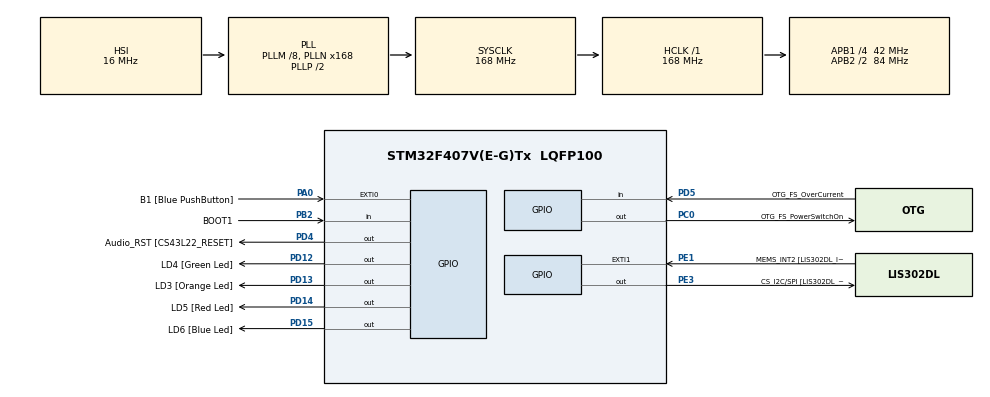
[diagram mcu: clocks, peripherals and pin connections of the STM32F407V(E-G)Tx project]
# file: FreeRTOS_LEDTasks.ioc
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Mcu.Family=STM32F4
Mcu.Name=STM32F407V(E-G)Tx
Mcu.Package=LQFP100
NVIC.PriorityGroup=NVIC_PRIORITYGROUP_4
NVIC.TIM6_DAC_IRQn=true\:0\:0\:false\:false\:true\:false\:true\:true
NVIC.TimeBase=TIM6_DAC_IRQn
NVIC.TimeBaseIP=TIM6
PA0-WKUP.GPIO_Label=B1 [Blue PushButton]
PA0-WKUP.Signal=GPXTI0
PA10.GPIO_Label=OTG_FS_ID
PA10.GPIO_Mode=GPIO_MODE_AF_PP
PA10.GPIO_PuPd=GPIO_NOPULL
PA10.GPIO_Speed=GPIO_SPEED_FREQ_LOW
PA10.Signal=USB_OTG_FS_ID
PA11.GPIO_Label=OTG_FS_DM
PA11.GPIO_Mode=GPIO_MODE_AF_PP
PA11.GPIO_PuPd=GPIO_NOPULL
PA11.GPIO_Speed=GPIO_SPEED_FREQ_LOW
PA11.Signal=USB_OTG_FS_DM
PA12.GPIO_Label=OTG_FS_DP
PA12.GPIO_Mode=GPIO_MODE_AF_PP
PA12.GPIO_PuPd=GPIO_NOPULL
PA12.GPIO_Speed=GPIO_SPEED_FREQ_LOW
PA12.Signal=USB_OTG_FS_DP
PA13.GPIO_Label=SWDIO
PA13.Signal=SYS_JTMS-SWDIO
PA14.GPIO_Label=SWCLK
PA14.Signal=SYS_JTCK-SWCLK
PA4.GPIO_Label=I2S3_WS [CS43L22_LRCK]
PA4.GPIO_Mode=GPIO_MODE_AF_PP
PA4.GPIO_PuPd=GPIO_NOPULL
PA4.GPIO_Speed=GPIO_SPEED_FREQ_LOW
PA4.Signal=I2S3_WS
PA5.GPIO_Label=SPI1_SCK [LIS302DL_SCL/SPC]
PA5.GPIO_Mode=GPIO_MODE_AF_PP
PA5.GPIO_PuPd=GPIO_NOPULL
PA5.GPIO_Speed=GPIO_SPEED_FREQ_LOW
PA5.Signal=SPI1_SCK
PA6.GPIO_Label=SPI1_MISO [LIS302DL_SDO]
PA6.GPIO_Mode=GPIO_MODE_AF_PP
PA6.GPIO_PuPd=GPIO_NOPULL
PA6.GPIO_Speed=GPIO_SPEED_FREQ_LOW
PA6.Signal=SPI1_MISO
PA7.GPIO_Label=SPI1_MOSI [LIS302DL_SDA/SDI/SDO]
PA7.GPIO_Mode=GPIO_MODE_AF_PP
PA7.GPIO_PuPd=GPIO_NOPULL
PA7.GPIO_Speed=GPIO_SPEED_FREQ_LOW
PA7.Signal=SPI1_MOSI
PA9.GPIO_Label=VBUS_FS
PA9.GPIO_Mode=GPIO_MODE_INPUT
PA9.GPIO_PuPd=GPIO_NOPULL
PA9.Signal=USB_OTG_FS_VBUS
PB10.GPIO_Label=CLK_IN [MP45DT02_CLK]
PB10.GPIO_Mode=GPIO_MODE_AF_PP
PB10.GPIO_PuPd=GPIO_NOPULL
PB10.GPIO_Speed=GPIO_SPEED_FREQ_LOW
PB10.Signal=I2S2_CK
PB2.GPIO_Label=BOOT1
PB2.GPIO_Mode=GPIO_MODE_INPUT
PB2.GPIO_PuPd=GPIO_NOPULL
PB2.Signal=GPIO_Input
PB3.GPIO_Label=SWO
PB3.Signal=SYS_JTDO-SWO
PB6.GPIO_Label=Audio_SCL [CS43L22_SCL]
PB6.GPIO_Mode=GPIO_MODE_AF_OD
PB6.GPIO_PuPd=GPIO_NOPULL
PB6.GPIO_Speed=GPIO_SPEED_FREQ_LOW
PB6.Signal=I2C1_SCL
PB9.GPIO_Label=Audio_SDA [CS43L22_SDA]
PB9.GPIO_Mode=GPIO_MODE_AF_OD
PB9.GPIO_PuPd=GPIO_NOPULL
PB9.GPIO_Speed=GPIO_SPEED_FREQ_LOW
PB9.Signal=I2C1_SDA
PC0.GPIO_Label=OTG_FS_PowerSwitchOn
PC0.GPIO_PuPd=GPIO_NOPULL
PC0.GPIO_Speed=GPIO_SPEED_FREQ_LOW
PC0.PinState=GPIO_PIN_SET
PC0.Signal=GPIO_Output
PC10.GPIO_Label=I2S3_SCK [CS43L22_SCLK]
PC10.GPIO_Mode=GPIO_MODE_AF_PP
PC10.GPIO_PuPd=GPIO_NOPULL
PC10.GPIO_Speed=GPIO_SPEED_FREQ_LOW
PC10.Signal=I2S3_CK
PC12.GPIO_Label=I2S3_SD [CS43L22_SDIN]
PC12.GPIO_Mode=GPIO_MODE_AF_PP
PC12.GPIO_PuPd=GPIO_NOPULL
PC12.GPIO_Speed=GPIO_SPEED_FREQ_LOW
PC12.Signal=I2S3_SD
PC14-OSC32_IN.GPIO_Label=PC14-OSC32_IN
PC14-OSC32_IN.Signal=RCC_OSC32_IN
PC15-OSC32_OUT.GPIO_Label=PC15-OSC32_OUT
PC15-OSC32_OUT.Signal=RCC_OSC32_OUT
PC3.GPIO_Label=PDM_OUT [MP45DT02_DOUT]
PC3.GPIO_Mode=GPIO_MODE_AF_PP
PC3.GPIO_PuPd=GPIO_NOPULL
PC3.GPIO_Speed=GPIO_SPEED_FREQ_LOW
PC3.Signal=I2S2_SD
PC7.GPIO_Label=I2S3_MCK [CS43L22_MCLK]
PC7.GPIO_Mode=GPIO_MODE_AF_PP
PC7.GPIO_PuPd=GPIO_NOPULL
PC7.GPIO_Speed=GPIO_SPEED_FREQ_LOW
PC7.Signal=I2S3_MCK
PD12.GPIO_Label=LD4 [Green Led]
PD12.GPIO_PuPd=GPIO_NOPULL
PD12.GPIO_Speed=GPIO_SPEED_FREQ_LOW
PD12.Signal=GPIO_Output
PD13.GPIO_Label=LD3 [Orange Led]
PD13.GPIO_PuPd=GPIO_NOPULL
PD13.GPIO_Speed=GPIO_SPEED_FREQ_LOW
PD13.Signal=GPIO_Output
PD14.GPIO_Label=LD5 [Red Led]
PD14.GPIO_PuPd=GPIO_NOPULL
PD14.GPIO_Speed=GPIO_SPEED_FREQ_LOW
PD14.Signal=GPIO_Output
PD15.GPIO_Label=LD6 [Blue Led]
PD15.GPIO_PuPd=GPIO_NOPULL
PD15.GPIO_Speed=GPIO_SPEED_FREQ_LOW
PD15.Signal=GPIO_Output
PD4.GPIO_Label=Audio_RST [CS43L22_RESET]
PD4.GPIO_PuPd=GPIO_NOPULL
PD4.GPIO_Speed=GPIO_SPEED_FREQ_LOW
PD4.Signal=GPIO_Output
PD5.GPIO_Label=OTG_FS_OverCurrent
PD5.GPIO_Mode=GPIO_MODE_INPUT
PD5.GPIO_PuPd=GPIO_NOPULL
PD5.Signal=GPIO_Input
PE1.GPIO_Label=MEMS_INT2 [LIS302DL_INT2]
PE1.GPIO_ModeDefaultEXTI=GPIO_MODE_EVT_RISING
PE1.GPIO_PuPd=GPIO_NOPULL
PE1.Signal=GPXTI1
PE3.GPIO_Label=CS_I2C/SPI [LIS302DL_CS_I2C/SPI]
PE3.GPIO_PuPd=GPIO_NOPULL
PE3.GPIO_Speed=GPIO_SPEED_FREQ_LOW
PE3.Signal=GPIO_Output
PH0-OSC_IN.GPIO_Label=PH0-OSC_IN
PH0-OSC_IN.Signal=RCC_OSC_IN
PH1-OSC_OUT.GPIO_Label=PH1-OSC_OUT
PH1-OSC_OUT.Signal=RCC_OSC_OUT
ProjectManager.HeapSize=0x200
ProjectManager.StackSize=0x400
ProjectManager.TargetToolchain=STM32CubeIDE
RCC.48MHZClocksFreq_Value=48000000
RCC.AHBFreq_Value=168000000
RCC.APB1CLKDivider=RCC_HCLK_DIV4
RCC.APB1Freq_Value=42000000
RCC.APB1TimFreq_Value=84000000
RCC.APB2CLKDivider=RCC_HCLK_DIV2
RCC.APB2Freq_Value=84000000
RCC.APB2TimFreq_Value=168000000
RCC.CortexFreq_Value=168000000
RCC.HCLKFreq_Value=168000000
RCC.HSE_VALUE=8000000
RCC.HSI_VALUE=16000000
RCC.LSE_VALUE=32768
RCC.PLLM=8
RCC.PLLN=168
RCC.PLLQ=7
RCC.SYSCLKFreq_VALUE=168000000
RCC.SYSCLKSource=RCC_SYSCLKSOURCE_PLLCLK
RCC.VCOOutputFreq_Value=336000000
VP_SYS_VS_tim6.Mode=TIM6
board=STM32F407G-DISC1

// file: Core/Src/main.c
/* USER CODE BEGIN Header */
/**
  ******************************************************************************
  * @file           : main.c
  * @brief          : Main program body
  ******************************************************************************
  * @attention
  *
  * Copyright (c) 2025 STMicroelectronics.
  * All rights reserved.
  *
  * This software is licensed under terms that can be found in the LICENSE file
  * in the root directory of this software component.
  * If no LICENSE file comes with this software, it is provided AS-IS.
  *
  ******************************************************************************
  */
/* USER CODE END Header */
#include "main.h"

/* USER CODE BEGIN Includes */
#include <stdio.h>
#include "FreeRTOS.h"
#include "task.h"
/* USER CODE END Includes */

/* USER CODE BEGIN PV */
#define DWT_CTRL		(*(volatile uint32_t* )0xE0001000)

/* USER CODE END PV */

void SystemClock_Config(void);
static void MX_GPIO_Init(void);
/* USER CODE BEGIN PFP */

static void ledGreenHandler(void* parameters);
static void ledOrangeHandler(void* parameters);
static void ledRedHandler(void* parameters);

extern void SEGGER_UART_init();
/* USER CODE END PFP */

int main(void)
{

  /* USER CODE BEGIN 1 */
	TaskHandle_t task1Handle;
	TaskHandle_t task2Handle;
	TaskHandle_t task3Handle;
	BaseType_t status;

  /* USER CODE END 1 */

  /* MCU Configuration--------------------------------------------------------*/

  /* Reset of all peripherals, Initializes the Flash interface and the Systick. */
  HAL_Init();

  /* Configure the system clock */
  SystemClock_Config();

  /* Initialize all configured peripherals */
  MX_GPIO_Init();
  /* USER CODE BEGIN 2 */

  // Initialize UART recording
    SEGGER_UART_init(500000);

  //Enable CYCLCNTENA in the DWT_CTRL register
	DWT_CTRL |= ( 1 << 0);

  // Start SEGGER SysView recording
  SEGGER_SYSVIEW_Conf();

	// Create Tasks for LEDs
  status = xTaskCreate(ledGreenHandler, "LED Green Task", 512, NULL, 2, &task1Handle);
  if (status != pdPASS) {
      SEGGER_SYSVIEW_PrintfTarget("Green Task Creation Failed!");
  }

  status = xTaskCreate(ledOrangeHandler, "LED Orange Task", 512, NULL, 2, &task2Handle);
  if (status != pdPASS) {
      SEGGER_SYSVIEW_PrintfTarget("Orange Task Creation Failed!");
  }

  status = xTaskCreate(ledRedHandler, "LED Red Task", 512, NULL, 2, &task3Handle);
  if (status != pdPASS) {
      SEGGER_SYSVIEW_PrintfTarget("Red Task Creation Failed!");
  }

	//start the freeRTOS scheduler
	vTaskStartScheduler();
  /* USER CODE END 2 */

  /* Infinite loop */
  while (1)
  {

  }
}

void SystemClock_Config(void)
{
  RCC_OscInitTypeDef RCC_OscInitStruct = {0};
  RCC_ClkInitTypeDef RCC_ClkInitStruct = {0};

  /** Configure the main internal regulator output voltage
  */
  __HAL_RCC_PWR_CLK_ENABLE();
  __HAL_PWR_VOLTAGESCALING_CONFIG(PWR_REGULATOR_VOLTAGE_SCALE1);

  /** Initializes the RCC Oscillators according to the specified parameters
  * in the RCC_OscInitTypeDef structure.
  */
  RCC_OscInitStruct.OscillatorType = RCC_OSCILLATORTYPE_HSI;
  RCC_OscInitStruct.HSIState = RCC_HSI_ON;
  RCC_OscInitStruct.HSICalibrationValue = RCC_HSICALIBRATION_DEFAULT;
  RCC_OscInitStruct.PLL.PLLState = RCC_PLL_ON;
  RCC_OscInitStruct.PLL.PLLSource = RCC_PLLSOURCE_HSI;
  RCC_OscInitStruct.PLL.PLLM = 8;
  RCC_OscInitStruct.PLL.PLLN = 168;
  RCC_OscInitStruct.PLL.PLLP = RCC_PLLP_DIV2;
  RCC_OscInitStruct.PLL.PLLQ = 7;
  if (HAL_RCC_OscConfig(&RCC_OscInitStruct) != HAL_OK)
  {
    Error_Handler();
  }

  /** Initializes the CPU, AHB and APB buses clocks
  */
  RCC_ClkInitStruct.ClockType = RCC_CLOCKTYPE_HCLK|RCC_CLOCKTYPE_SYSCLK
                              |RCC_CLOCKTYPE_PCLK1|RCC_CLOCKTYPE_PCLK2;
  RCC_ClkInitStruct.SYSCLKSource = RCC_SYSCLKSOURCE_PLLCLK;
  RCC_ClkInitStruct.AHBCLKDivider = RCC_SYSCLK_DIV1;
  RCC_ClkInitStruct.APB1CLKDivider = RCC_HCLK_DIV4;
  RCC_ClkInitStruct.APB2CLKDivider = RCC_HCLK_DIV2;

  if (HAL_RCC_ClockConfig(&RCC_ClkInitStruct, FLASH_LATENCY_5) != HAL_OK)
  {
    Error_Handler();
  }
}

static void MX_GPIO_Init(void)
{
  GPIO_InitTypeDef GPIO_InitStruct = {0};

  /* GPIO Ports Clock Enable */
  __HAL_RCC_GPIOE_CLK_ENABLE();
  __HAL_RCC_GPIOC_CLK_ENABLE();
  __HAL_RCC_GPIOH_CLK_ENABLE();
  __HAL_RCC_GPIOA_CLK_ENABLE();
  __HAL_RCC_GPIOB_CLK_ENABLE();
  __HAL_RCC_GPIOD_CLK_ENABLE();

  /*Configure GPIO pin Output Level */
  HAL_GPIO_WritePin(CS_I2C_SPI_GPIO_Port, CS_I2C_SPI_Pin, GPIO_PIN_RESET);

  /*Configure GPIO pin Output Level */
  HAL_GPIO_WritePin(OTG_FS_PowerSwitchOn_GPIO_Port, OTG_FS_PowerSwitchOn_Pin, GPIO_PIN_SET);

  /*Configure GPIO pin Output Level */
  HAL_GPIO_WritePin(GPIOD, LD4_Pin|LD3_Pin|LD5_Pin|LD6_Pin
                          |Audio_RST_Pin, GPIO_PIN_RESET);

  /*Configure GPIO pin : CS_I2C_SPI_Pin */
  GPIO_InitStruct.Pin = CS_I2C_SPI_Pin;
  GPIO_InitStruct.Mode = GPIO_MODE_OUTPUT_PP;
  GPIO_InitStruct.Pull = GPIO_NOPULL;
  GPIO_InitStruct.Speed = GPIO_SPEED_FREQ_LOW;
  HAL_GPIO_Init(CS_I2C_SPI_GPIO_Port, &GPIO_InitStruct);

  /*Configure GPIO pin : OTG_FS_PowerSwitchOn_Pin */
  GPIO_InitStruct.Pin = OTG_FS_PowerSwitchOn_Pin;
  GPIO_InitStruct.Mode = GPIO_MODE_OUTPUT_PP;
  GPIO_InitStruct.Pull = GPIO_NOPULL;
  GPIO_InitStruct.Speed = GPIO_SPEED_FREQ_LOW;
  HAL_GPIO_Init(OTG_FS_PowerSwitchOn_GPIO_Port, &GPIO_InitStruct);

  /*Configure GPIO pin : PDM_OUT_Pin */
  GPIO_InitStruct.Pin = PDM_OUT_Pin;
  GPIO_InitStruct.Mode = GPIO_MODE_AF_PP;
  GPIO_InitStruct.Pull = GPIO_NOPULL;
  GPIO_InitStruct.Speed = GPIO_SPEED_FREQ_LOW;
  GPIO_InitStruct.Alternate = GPIO_AF5_SPI2;
  HAL_GPIO_Init(PDM_OUT_GPIO_Port, &GPIO_InitStruct);

  /*Configure GPIO pin : B1_Pin */
  GPIO_InitStruct.Pin = B1_Pin;
  GPIO_InitStruct.Mode = GPIO_MODE_IT_RISING;
  GPIO_InitStruct.Pull = GPIO_NOPULL;
  HAL_GPIO_Init(B1_GPIO_Port, &GPIO_InitStruct);

  /*Configure GPIO pin : I2S3_WS_Pin */
  GPIO_InitStruct.Pin = I2S3_WS_Pin;
  GPIO_InitStruct.Mode = GPIO_MODE_AF_PP;
  GPIO_InitStruct.Pull = GPIO_NOPULL;
  GPIO_InitStruct.Speed = GPIO_SPEED_FREQ_LOW;
  GPIO_InitStruct.Alternate = GPIO_AF6_SPI3;
  HAL_GPIO_Init(I2S3_WS_GPIO_Port, &GPIO_InitStruct);

  /*Configure GPIO pins : SPI1_SCK_Pin SPI1_MISO_Pin SPI1_MOSI_Pin */
  GPIO_InitStruct.Pin = SPI1_SCK_Pin|SPI1_MISO_Pin|SPI1_MOSI_Pin;
  GPIO_InitStruct.Mode = GPIO_MODE_AF_PP;
  GPIO_InitStruct.Pull = GPIO_NOPULL;
  GPIO_InitStruct.Speed = GPIO_SPEED_FREQ_LOW;
  GPIO_InitStruct.Alternate = GPIO_AF5_SPI1;
  HAL_GPIO_Init(GPIOA, &GPIO_InitStruct);

  /*Configure GPIO pin : BOOT1_Pin */
  GPIO_InitStruct.Pin = BOOT1_Pin;
  GPIO_InitStruct.Mode = GPIO_MODE_INPUT;
  GPIO_InitStruct.Pull = GPIO_NOPULL;
  HAL_GPIO_Init(BOOT1_GPIO_Port, &GPIO_InitStruct);

  /*Configure GPIO pin : CLK_IN_Pin */
  GPIO_InitStruct.Pin = CLK_IN_Pin;
  GPIO_InitStruct.Mode = GPIO_MODE_AF_PP;
  GPIO_InitStruct.Pull = GPIO_NOPULL;
  GPIO_InitStruct.Speed = GPIO_SPEED_FREQ_LOW;
  GPIO_InitStruct.Alternate = GPIO_AF5_SPI2;
  HAL_GPIO_Init(CLK_IN_GPIO_Port, &GPIO_InitStruct);

  /*Configure GPIO pins : LD4_Pin LD3_Pin LD5_Pin LD6_Pin
                           Audio_RST_Pin */
  GPIO_InitStruct.Pin = LD4_Pin|LD3_Pin|LD5_Pin|LD6_Pin
                          |Audio_RST_Pin;
  GPIO_InitStruct.Mode = GPIO_MODE_OUTPUT_PP;
  GPIO_InitStruct.Pull = GPIO_NOPULL;
  GPIO_InitStruct.Speed = GPIO_SPEED_FREQ_LOW;
  HAL_GPIO_Init(GPIOD, &GPIO_InitStruct);

  /*Configure GPIO pins : I2S3_MCK_Pin I2S3_SCK_Pin I2S3_SD_Pin */
  GPIO_InitStruct.Pin = I2S3_MCK_Pin|I2S3_SCK_Pin|I2S3_SD_Pin;
  GPIO_InitStruct.Mode = GPIO_MODE_AF_PP;
  GPIO_InitStruct.Pull = GPIO_NOPULL;
  GPIO_InitStruct.Speed = GPIO_SPEED_FREQ_LOW;
  GPIO_InitStruct.Alternate = GPIO_AF6_SPI3;
  HAL_GPIO_Init(GPIOC, &GPIO_InitStruct);

  /*Configure GPIO pin : VBUS_FS_Pin */
  GPIO_InitStruct.Pin = VBUS_FS_Pin;
  GPIO_InitStruct.Mode = GPIO_MODE_INPUT;
  GPIO_InitStruct.Pull = GPIO_NOPULL;
  HAL_GPIO_Init(VBUS_FS_GPIO_Port, &GPIO_InitStruct);

  /*Configure GPIO pins : OTG_FS_ID_Pin OTG_FS_DM_Pin OTG_FS_DP_Pin */
  GPIO_InitStruct.Pin = OTG_FS_ID_Pin|OTG_FS_DM_Pin|OTG_FS_DP_Pin;
  GPIO_InitStruct.Mode = GPIO_MODE_AF_PP;
  GPIO_InitStruct.Pull = GPIO_NOPULL;
  GPIO_InitStruct.Speed = GPIO_SPEED_FREQ_LOW;
  GPIO_InitStruct.Alternate = GPIO_AF10_OTG_FS;
  HAL_GPIO_Init(GPIOA, &GPIO_InitStruct);

  /*Configure GPIO pin : OTG_FS_OverCurrent_Pin */
  GPIO_InitStruct.Pin = OTG_FS_OverCurrent_Pin;
  GPIO_InitStruct.Mode = GPIO_MODE_INPUT;
  GPIO_InitStruct.Pull = GPIO_NOPULL;
  HAL_GPIO_Init(OTG_FS_OverCurrent_GPIO_Port, &GPIO_InitStruct);

  /*Configure GPIO pins : Audio_SCL_Pin Audio_SDA_Pin */
  GPIO_InitStruct.Pin = Audio_SCL_Pin|Audio_SDA_Pin;
  GPIO_InitStruct.Mode = GPIO_MODE_AF_OD;
  GPIO_InitStruct.Pull = GPIO_NOPULL;
  GPIO_InitStruct.Speed = GPIO_SPEED_FREQ_LOW;
  GPIO_InitStruct.Alternate = GPIO_AF4_I2C1;
  HAL_GPIO_Init(GPIOB, &GPIO_InitStruct);

  /*Configure GPIO pin : MEMS_INT2_Pin */
  GPIO_InitStruct.Pin = MEMS_INT2_Pin;
  GPIO_InitStruct.Mode = GPIO_MODE_EVT_RISING;
  GPIO_InitStruct.Pull = GPIO_NOPULL;
  HAL_GPIO_Init(MEMS_INT2_GPIO_Port, &GPIO_InitStruct);

}

/* USER CODE BEGIN 4 */

static void ledGreenHandler(void* parameters)
{

	while(1)
	{
		SEGGER_SYSVIEW_PrintfTarget("Toggling Green LED");
		HAL_GPIO_TogglePin(GPIOD, LED_GREEN_PIN);
		HAL_Delay(1000);
	}

}

static void ledOrangeHandler(void* parameters)
{
	while(1)
	{
		SEGGER_SYSVIEW_PrintfTarget("Toggling Orange LED");
		HAL_GPIO_TogglePin(GPIOD, LED_ORANGE_PIN);
		HAL_Delay(800);
	}

}

static void ledRedHandler(void* parameters)
{
	while(1)
	{
		SEGGER_SYSVIEW_PrintfTarget("Toggling Red LED");
		HAL_GPIO_TogglePin(GPIOD, LED_RED_PIN);
		HAL_Delay(400);
	}

}

/* USER CODE END 4 */

void HAL_TIM_PeriodElapsedCallback(TIM_HandleTypeDef *htim)
{
  if (htim->Instance == TIM6) {
    HAL_IncTick();
  }
}

void Error_Handler(void)
{
  __disable_irq();
  while (1)
  {
  }
}
